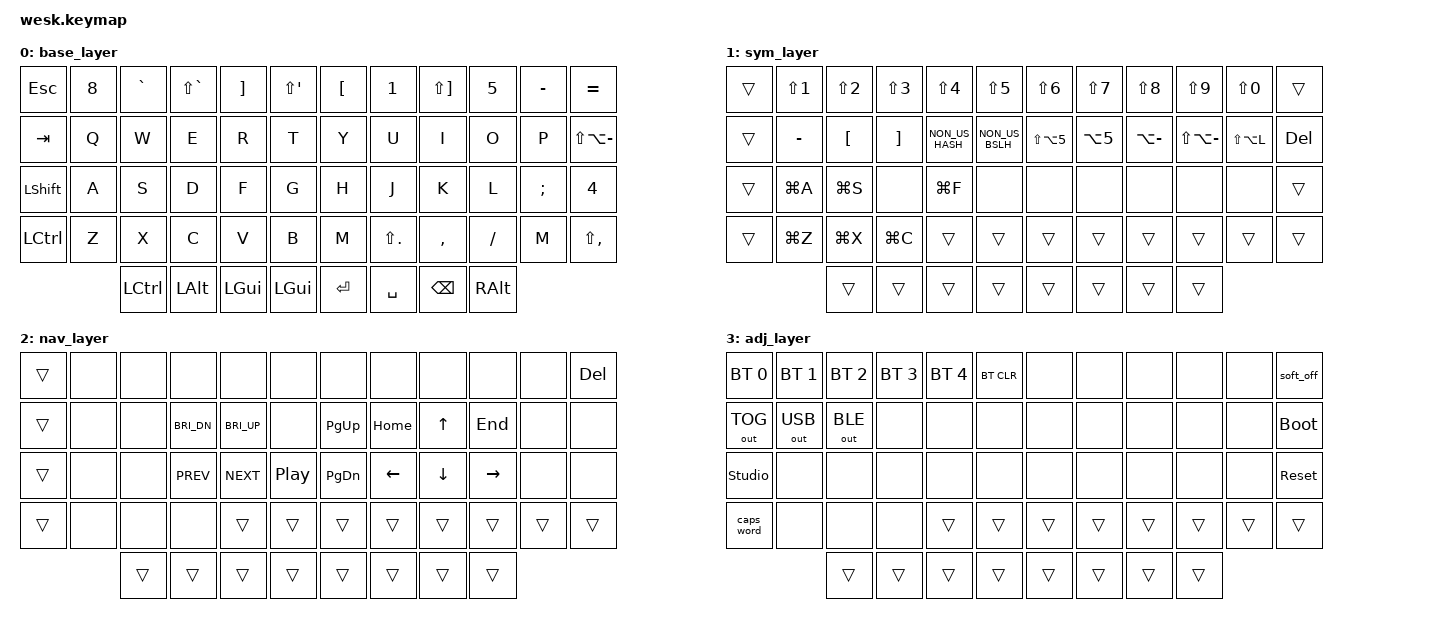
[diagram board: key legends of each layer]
/*
 * Mon clavier Corne
 * Généré par ZMK GUI
 */

#include <behaviors.dtsi>
#include <dt-bindings/zmk/keys.h>
#include <dt-bindings/zmk/bt.h>
#include <dt-bindings/zmk/outputs.h>

/ {
    keymap {
        compatible = "zmk,keymap";

        base_layer {
            bindings = <
                &kp ESC &kp N8 &kp GRAVE &kp LS(GRAVE) &kp RBKT &kp LS(SQT) &kp LBKT &kp N1 &kp LS(RBKT) &kp N5 &kp MINUS &kp EQUAL
                &kp TAB &kp Q &kp W &kp E &kp R &kp T &kp Y &kp U &kp I &kp O &kp P &kp LS(LA(MINUS))
                &kp LSHFT &kp A &kp S &kp D &kp F &kp G &kp H &kp J &kp K &kp L &kp SEMI &kp N4
                &kp LCTRL &kp Z &kp X &kp C &kp V &kp B &kp M &kp LS(DOT) &kp COMMA &kp FSLH &kp M &kp LS(COMMA)
                &kp LCTRL &kp LALT &kp LGUI &kp LGUI &kp ENTER &kp SPACE &kp BSPC &kp RALT
            >;
        };

        sym_layer {
            bindings = <
                &trans &kp LS(N1) &kp LS(N2) &kp LS(N3) &kp LS(N4) &kp LS(N5) &kp LS(N6) &kp LS(N7) &kp LS(N8) &kp LS(N9) &kp LS(N0) &trans
                &trans &kp MINUS &kp LBKT &kp RBKT &kp NON_US_HASH &kp NON_US_BSLH &kp LS(LA(N5)) &kp LA(N5) &kp LA(MINUS) &kp LS(LA(MINUS)) &kp LS(LA(L)) &kp DEL
                &trans &kp LG(A) &kp LG(S) &none &kp LG(F) &none &none &none &none &none &none &trans
                &trans &kp LG(Z) &kp LG(X) &kp LG(C) &trans &trans &trans &trans &trans &trans &trans &trans
                &trans &trans &trans &trans &trans &trans &trans &trans
            >;
        };

        nav_layer {
            bindings = <
                &trans &none &none &none &none &none &none &none &none &none &none &kp DEL
                &trans &none &none &kp C_BRI_DN &kp C_BRI_UP &none &kp PG_UP &kp HOME &kp UP &kp END &none &none
                &trans &none &none &kp C_PREV &kp C_NEXT &kp C_PP &kp PG_DN &kp LEFT &kp DOWN &kp RIGHT &none &none
                &trans &none &none &none &trans &trans &trans &trans &trans &trans &trans &trans
                &trans &trans &trans &trans &trans &trans &trans &trans
            >;
        };

        adj_layer {
            bindings = <
                &bt BT_SEL 0 &bt BT_SEL 1 &bt BT_SEL 2 &bt BT_SEL 3 &bt BT_SEL 4 &bt BT_CLR &none &none &none &none &none &soft_off
                &out OUT_TOG &out OUT_USB &out OUT_BLE &none &none &none &none &none &none &none &none &bootloader
                &studio_unlock &none &none &none &none &none &none &none &none &none &none &sys_reset
                &caps_word &none &none &none &trans &trans &trans &trans &trans &trans &trans &trans
                &trans &trans &trans &trans &trans &trans &trans &trans
            >;
        };
    };
};
